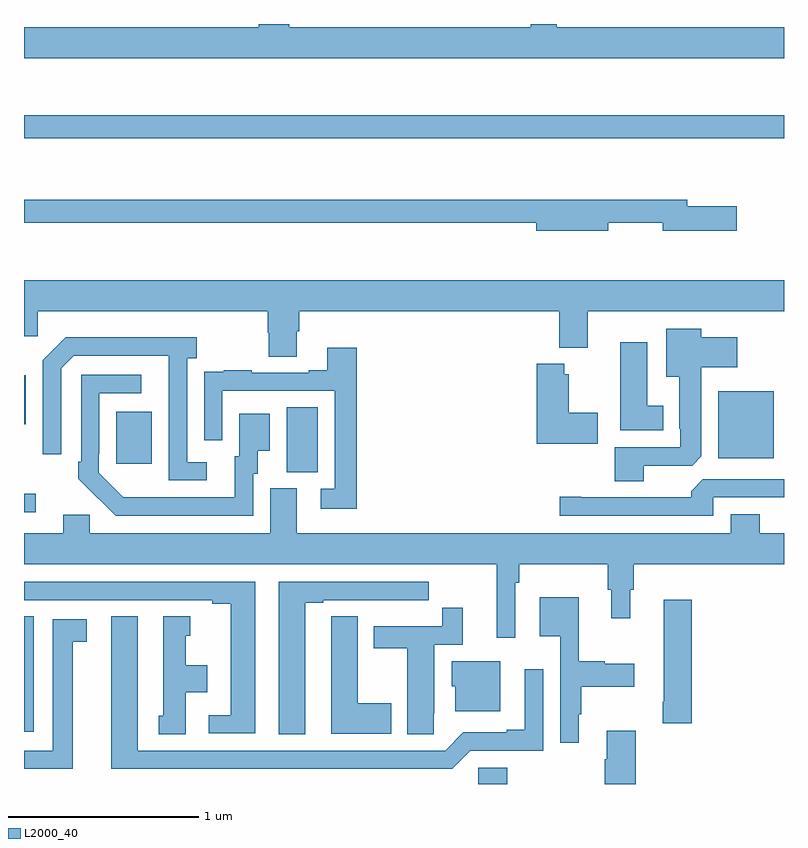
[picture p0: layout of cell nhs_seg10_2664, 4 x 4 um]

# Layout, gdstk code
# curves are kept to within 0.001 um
import gdstk
lib = gdstk.Library(unit=1e-6, precision=1e-09)
def R(c, l, rs):  # rectangles x0, y0, x1, y1
    for r in rs: c.add(gdstk.rectangle(r[:2], r[2:], *l))
def P(c, l, *ps):  # polygons
    for p in ps: c.add(gdstk.Polygon(p, *l))
L2000_40 = (2000, 40)

nhs_seg10_2664 = lib.new_cell('nhs_seg10_2664')
R(nhs_seg10_2664, L2000_40, [(257.391,1292.5,257.543,1292.586), (255,1292.775,255.052,1293.383), (255,1293.93,255.061,1294.027), (256.382,1294.141,256.546,1294.484), (255.485,1294.185,255.673,1294.459), (258.653,1294.214,258.946,1294.567), (255,1294.394,255.01,1294.651), (255,1295.898,259,1296.019)])
P(nhs_seg10_2664, L2000_40, [(259,1296.484),(257.805,1296.484),(257.805,1296.5),(257.667,1296.5),(257.667,1296.484),(256.395,1296.484),(256.395,1296.5),(256.235,1296.5),(256.235,1296.484),(255,1296.484),(255,1296.32),(259,1296.32)],
  [(258.076,1295.454),(258.362,1295.454),(258.362,1295.411),(258.751,1295.411),(258.751,1295.541),(258.49,1295.541),(258.49,1295.575),(255,1295.575),(255,1295.454),(257.696,1295.454),(257.696,1295.411),(258.076,1295.411)],
  [(256.435,1294.882),(256.448,1294.882),(256.448,1294.988),(257.816,1294.988),(257.816,1294.796),(257.968,1294.796),(257.968,1294.988),(259,1294.988),(259,1295.152),(255,1295.152),(255,1294.857),(255.072,1294.857),(255.072,1294.988),(256.283,1294.988),(256.283,1294.875),(256.288,1294.875),(256.288,1294.75),(256.435,1294.75)],
  [(258.262,1294.176),(258.516,1294.176),(258.565,1294.225),(258.565,1294.694),(258.754,1294.694),(258.754,1294.852),(258.565,1294.852),(258.565,1294.897),(258.38,1294.897),(258.38,1294.643),(258.449,1294.643),(258.449,1294.369),(258.453,1294.369),(258.453,1294.272),(258.11,1294.272),(258.11,1294.093),(258.262,1294.093)],
  [(255.961,1294.194),(255.858,1294.194),(255.858,1294.742),(255.91,1294.742),(255.91,1294.852),(255.22,1294.852),(255.099,1294.731),(255.099,1294.236),(255.195,1294.236),(255.195,1294.689),(255.261,1294.755),(255.761,1294.755),(255.762,1294.098),(255.961,1294.098)],
  [(258.364,1294.492),(258.28,1294.492),(258.28,1294.825),(258.137,1294.825),(258.137,1294.361),(258.364,1294.361)],
  [(256.751,1294.795),(256.595,1294.795),(256.595,1294.678),(256.499,1294.678),(256.499,1294.665),(256.199,1294.665),(256.199,1294.678),(256.051,1294.678),(256.051,1294.671),(255.949,1294.671),(255.949,1294.562),(255.948,1294.562),(255.948,1294.308),(256.044,1294.308),(256.044,1294.569),(256.635,1294.569),(256.635,1294.053),(256.563,1294.053),(256.563,1293.948),(256.751,1293.948)],
  [(258.019,1294.455),(257.866,1294.455),(257.866,1294.657),(257.844,1294.657),(257.844,1294.711),(257.699,1294.711),(257.699,1294.292),(258.019,1294.292)],
  [(256.206,1294.134),(256.231,1294.134),(256.231,1294.253),(256.294,1294.253),(256.294,1294.45),(256.133,1294.45),(256.133,1294.224),(256.109,1294.224),(256.109,1294.008),(255.522,1294.009),(255.393,1294.137),(255.393,1294.237),(255.396,1294.237),(255.396,1294.557),(255.616,1294.557),(255.616,1294.653),(255.3,1294.653),(255.3,1294.195),(255.285,1294.195),(255.285,1294.107),(255.482,1293.912),(256.206,1293.912)],
  [(258.627,1294.008),(259,1294.008),(259,1294.104),(258.573,1294.104),(258.512,1294.042),(258.512,1294.008),(257.932,1294.008),(257.932,1294.013),(257.82,1294.013),(257.82,1293.912),(258.627,1293.912)],
  [(257.586,1293.56),(257.606,1293.56),(257.606,1293.656),(258.073,1293.656),(258.073,1293.522),(258.092,1293.522),(258.092,1293.372),(258.19,1293.372),(258.19,1293.522),(258.209,1293.522),(258.209,1293.656),(259,1293.656),(259,1293.82),(258.872,1293.82),(258.872,1293.919),(258.719,1293.919),(258.719,1293.82),(256.435,1293.82),(256.435,1294.056),(256.295,1294.056),(256.295,1293.82),(255.345,1293.82),(255.345,1293.918),(255.206,1293.918),(255.206,1293.82),(255,1293.82),(255,1293.656),(257.489,1293.656),(257.489,1293.27),(257.586,1293.27)],
  [(256.216,1293.564),(255,1293.564),(255,1293.468),(255.992,1293.468),(255.992,1293.448),(256.088,1293.448),(256.088,1292.862),(255.972,1292.862),(255.972,1292.766),(256.216,1292.766)],
  [(256.48,1293.453),(256.576,1293.453),(256.576,1293.468),(256.852,1293.468),(256.852,1293.467),(257.018,1293.467),(257.018,1293.468),(257.131,1293.468),(257.131,1293.564),(256.34,1293.564),(256.34,1292.761),(256.48,1292.761)],
  [(257.92,1292.866),(257.932,1292.866),(257.932,1293.011),(258.211,1293.011),(258.211,1293.133),(258.057,1293.133),(258.057,1293.146),(257.92,1293.146),(257.92,1293.484),(257.714,1293.484),(257.714,1293.278),(257.823,1293.278),(257.823,1292.718),(257.92,1292.718)],
  [(258.515,1293.469),(258.368,1293.469),(258.368,1292.932),(258.361,1292.932),(258.361,1292.82),(258.515,1292.82)],
  [(257.157,1292.872),(257.158,1292.872),(257.158,1293.234),(257.309,1293.234),(257.309,1293.427),(257.2,1293.427),(257.2,1293.33),(256.841,1293.33),(256.841,1293.214),(257.018,1293.214),(257.018,1292.761),(257.157,1292.761)],
  [(256.933,1292.925),(256.756,1292.925),(256.756,1293.383),(256.617,1293.383),(256.617,1293.275),(256.616,1293.275),(256.616,1292.765),(256.933,1292.765)],
  [(255.85,1292.984),(255.964,1292.984),(255.964,1293.124),(255.85,1293.124),(255.85,1293.279),(255.874,1293.279),(255.874,1293.382),(255.734,1293.382),(255.734,1292.859),(255.71,1292.859),(255.71,1292.761),(255.85,1292.761)],
  [(257.349,1292.676),(257.733,1292.676),(257.733,1293.103),(257.636,1293.103),(257.636,1292.785),(257.54,1292.785),(257.54,1292.772),(257.313,1292.772),(257.217,1292.676),(255.598,1292.676),(255.598,1293.382),(255.458,1293.382),(255.458,1292.58),(257.253,1292.58)],
  [(255.256,1293.25),(255.331,1293.25),(255.331,1293.366),(255.152,1293.366),(255.152,1292.676),(255,1292.676),(255,1292.58),(255.256,1292.58)],
  [(257.506,1293.145),(257.252,1293.145),(257.252,1293.015),(257.27,1293.015),(257.27,1292.882),(257.506,1292.882)],
  [(258.221,1292.779),(258.068,1292.779),(258.068,1292.63),(258.056,1292.63),(258.056,1292.5),(258.221,1292.5)])

lib.write_gds('nhs_seg10_2664.gds')
